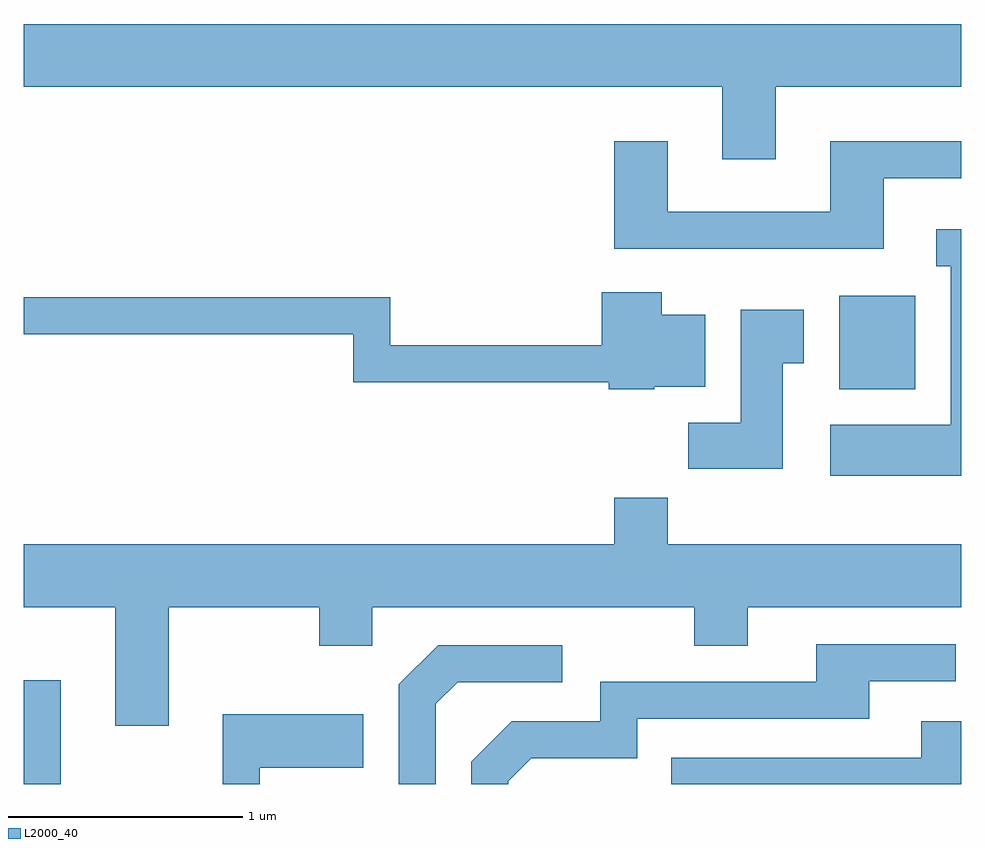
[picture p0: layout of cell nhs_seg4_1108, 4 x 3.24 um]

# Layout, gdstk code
import gdstk
lib = gdstk.Library(unit=1e-6, precision=1e-09)
def R(c, l, rs):  # rectangles x0, y0, x1, y1
    for r in rs: c.add(gdstk.rectangle(r[:2], r[2:], *l))
def P(c, l, *ps):  # polygons
    for p in ps: c.add(gdstk.Polygon(p, *l))
L2000_40 = (2000, 40)

nhs_seg4_1108 = lib.new_cell('nhs_seg4_1108')
R(nhs_seg4_1108, L2000_40, [(217.611,1293.982,217.769,1294.424), (221.091,1295.666,221.414,1296.064)])
P(nhs_seg4_1108, L2000_40, [(220.819,1296.956),(221.611,1296.956),(221.611,1297.224),(217.611,1297.224),(217.611,1296.956),(220.591,1296.956),(220.591,1296.646),(220.819,1296.646)],
  [(221.279,1296.566),(221.611,1296.566),(221.611,1296.724),(221.051,1296.724),(221.051,1296.424),(220.359,1296.424),(220.359,1296.724),(220.131,1296.724),(220.131,1296.266),(221.279,1296.266)],
  [(221.611,1296.349),(221.503,1296.349),(221.503,1296.191),(221.566,1296.191),(221.566,1295.514),(221.051,1295.514),(221.051,1295.296),(221.611,1295.296)],
  [(220.3,1295.676),(220.519,1295.676),(220.519,1295.984),(220.334,1295.984),(220.334,1296.079),(220.076,1296.079),(220.076,1295.854),(219.174,1295.854),(219.174,1296.059),(217.611,1296.059),(217.611,1295.901),(219.016,1295.901),(219.016,1295.696),(220.106,1295.696),(220.106,1295.666),(220.3,1295.666)],
  [(220.849,1295.776),(220.939,1295.776),(220.939,1296.004),(220.671,1296.004),(220.671,1295.524),(220.446,1295.524),(220.446,1295.326),(220.849,1295.326)],
  [(218.229,1294.736),(218.871,1294.736),(218.871,1294.571),(219.099,1294.571),(219.099,1294.736),(220.471,1294.736),(220.471,1294.571),(220.699,1294.571),(220.699,1294.736),(221.611,1294.736),(221.611,1295.004),(220.359,1295.004),(220.359,1295.204),(220.131,1295.204),(220.131,1295.004),(217.611,1295.004),(217.611,1294.736),(218.001,1294.736),(218.001,1294.231),(218.229,1294.231)],
  [(219.679,1293.994),(219.777,1294.091),(220.229,1294.091),(220.229,1294.261),(221.219,1294.261),(221.219,1294.421),(221.588,1294.421),(221.588,1294.579),(220.991,1294.579),(220.991,1294.419),(220.071,1294.419),(220.071,1294.249),(219.694,1294.249),(219.521,1294.077),(219.521,1293.982),(219.679,1293.982)],
  [(219.369,1294.324),(219.462,1294.416),(219.908,1294.416),(219.908,1294.574),(219.379,1294.574),(219.211,1294.407),(219.211,1293.982),(219.369,1293.982)],
  [(218.619,1294.051),(219.059,1294.051),(219.059,1294.279),(218.461,1294.279),(218.461,1293.982),(218.619,1293.982)],
  [(221.611,1294.249),(221.441,1294.249),(221.441,1294.094),(220.373,1294.094),(220.373,1293.982),(221.611,1293.982)])

lib.write_gds('nhs_seg4_1108.gds')
